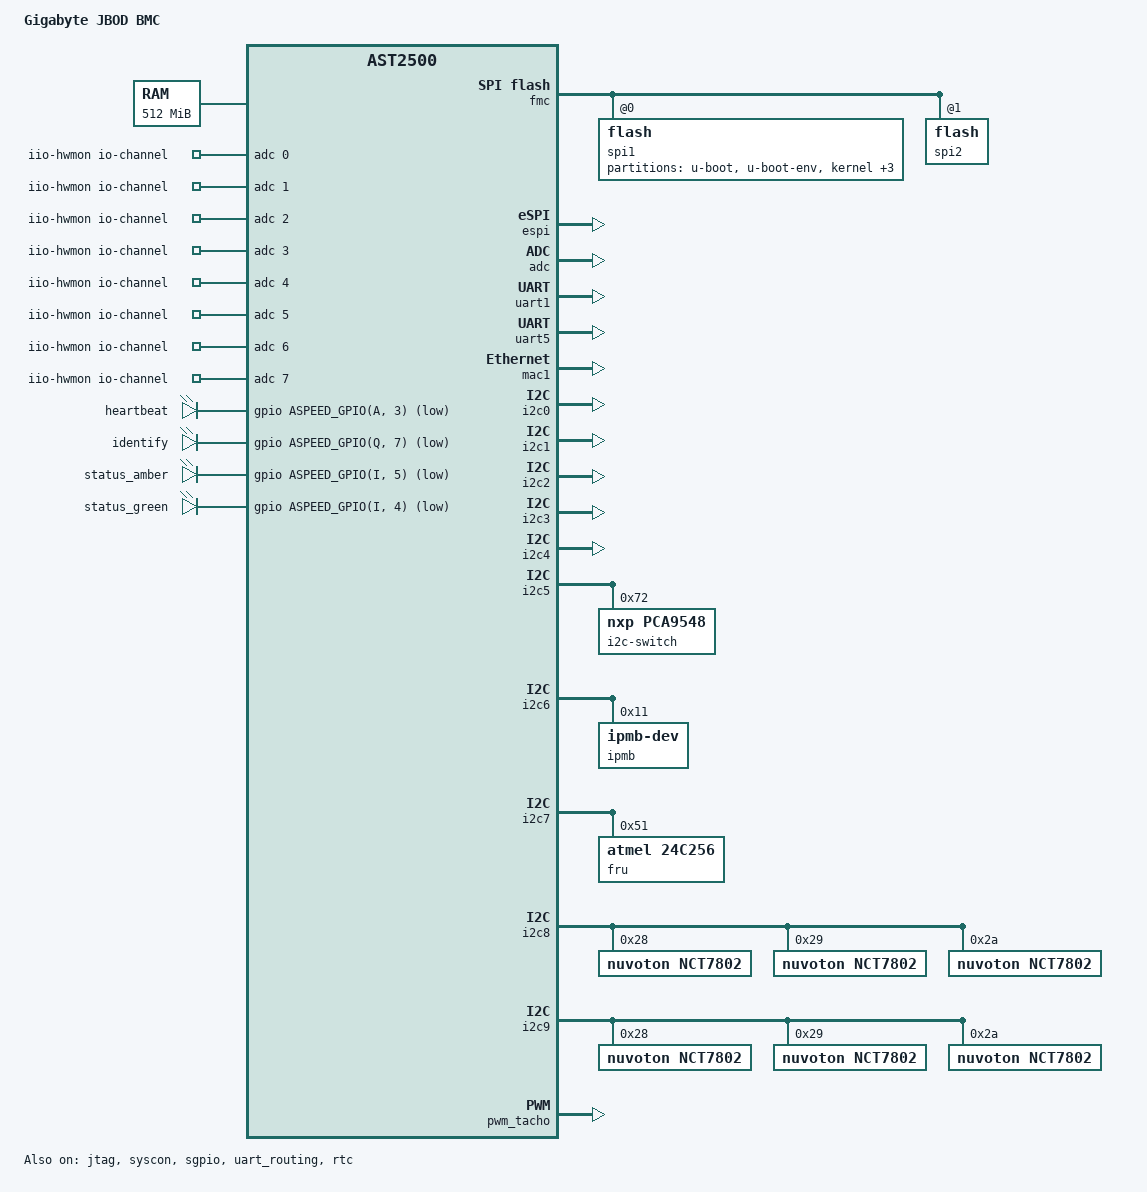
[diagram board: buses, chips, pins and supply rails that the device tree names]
/dts-v1/;

#include "aspeed-g5.dtsi"
#include <dt-bindings/gpio/aspeed-gpio.h>
#include <dt-bindings/i2c/i2c.h>

/ {
	model = "Gigabyte JBOD BMC";
	compatible = "none,jbod-bmc", "aspeed,ast2500";

	aliases {
		serial4 = &uart5;
		i2c14 = &pmbus_0;
		i2c15 = &pmbus_1;
		i2c16 = &pmbus_2;
		i2c17 = &pmbus_3;
	};

	chosen {
		stdout-path = &uart5;
		bootargs = "console=ttyS4,115200n8 root=/dev/ram rw earlyrintk";
	};

	memory@80000000 {
		reg = <0x80000000 0x20000000>;
	};

	reserved-memory {
		#address-cells = <1>;
		#size-cells = <1>;
		ranges;

		ramoops@9eff0000{
			compatible = "ramoops";
			reg = <0x9eff0000 0x10000>;
			record-size = <0x2000>;
			console-size = <0x2000>;
		};
	};

	iio-hwmon {
		   compatible = "iio-hwmon";
		   io-channels = <&adc 0>, <&adc 1>, <&adc 2>, <&adc 3>,
			   <&adc 4>, <&adc 5>, <&adc 6>, <&adc 7>,
			   <&adc 8>, <&adc 9>, <&adc 10>, <&adc 11>,
			   <&adc 12>, <&adc 13>, <&adc 14>, <&adc 15>;
	};

	leds {
		compatible = "gpio-leds";

		heartbeat {
			label = "heartbeat";
			gpios = <&gpio ASPEED_GPIO(A, 3) GPIO_ACTIVE_LOW>;
			linux,default-trigger = "timer";
			active-delay = <100>;
			inactive-delay = <100>;
		};

		identify {
			default-state = "on";
			gpios = <&gpio ASPEED_GPIO(Q, 7) GPIO_ACTIVE_LOW>;
		};

		status_amber {
			default-state = "off";
			gpios = <&gpio ASPEED_GPIO(I, 5) GPIO_ACTIVE_LOW>;
		};

		status_green {
			default-state = "keep";
			gpios = <&gpio ASPEED_GPIO(I, 4) GPIO_ACTIVE_LOW>;
		};
	};
};

&fmc {
	status = "okay";
	flash@0 {
		status = "okay";
		m25p,fast-read;
		label = "spi1";
		partitions {
			compatible = "fixed-partitions";
			#address-cells = <1>;
			#size-cells = <1>;

			u-boot@0 {
				reg = <0x0 0x60000>; // 384KB
				label = "u-boot";
			};

			u-boot-env@60000 {
				reg = <0x60000 0x20000>; // 128KB
				label = "u-boot-env";
			};

			kernel@80000 {
				reg = <0x80000 0x440000>; // 4352KB
				label = "kernel";
			};

			rofs@4c0000 {
				reg = <0x4c0000 0x2000000>; // 32MB
				label = "rofs";
			};

			rwfs@24c0000 {
				reg = <0x24c0000 0x1400000>; // 20MB
				label = "rwfs";
			};

			persistent@38C0000 {
				reg = <0x38C0000 0x640000>; // 6.4MB must end at 0x3f00000
				label = "persistent";
			};
		};
	};
	flash@1 {
		status = "okay";
		m25p,fast-read;
		label = "spi2";
	};
};

&espi {
	status = "okay";
};

&jtag {
	status = "okay";
};

&syscon {
	/* uart-clock-high-speed; */
	status = "okay";
};

&adc {
	status = "okay";
	pinctrl-names = "default";
	pinctrl-0 = <&pinctrl_adc0_default &pinctrl_adc1_default
	 &pinctrl_adc2_default &pinctrl_adc3_default &pinctrl_adc4_default
	 &pinctrl_adc5_default &pinctrl_adc6_default &pinctrl_adc7_default
	 &pinctrl_adc8_default &pinctrl_adc9_default &pinctrl_adc10_default
	 &pinctrl_adc11_default &pinctrl_adc12_default &pinctrl_adc13_default
	 &pinctrl_adc15_default>;
};

&gpio {
	status = "okay";
	/* Enable GPIOD0 and GPIOD2 pass-through by default */
	pinctrl-names = "pass-through";
	pinctrl-0 = <&pinctrl_gpid0_default
			&pinctrl_gpid2_default>;
	gpio-line-names =
	/*A0-A7*/	"A0", "A1", "A2", "A3", "A4", "A5", "A6", "A7",
	/*B0-B7*/	"P_12V_UP_FAULT_N", "P_12V_DOWN_FAULT_N", "B2", "B3", "B4", "B5", "B6", "BF_BMC_RST_BTN_N",
	/*C0-C7*/	"C0", "C1", "LED_BPB_UP", "LED_BPB_DOWN", "P_12V_PSON_L", "P_12V_BPB1_ON", "P_12V_BPB2_ON", "C7",
	/*D0-D7*/	"D0", "D1", "GLOBAL_FAIL_LED_BG1", "GLOBAL_FAIL_LED_BG2", "D4", "D5", "BMC_ID_BTN_N_BP1", "D7",
	/*E0-E7*/	"E0", "E1", "E2","E3","RST_BPB1_N","RST_BPB2_N","RST_BPB3_N","RST_BPB4_N",
	/*F0-F7*/	"F0", "F1", "F2", "F3", "F4", "F5", "F6", "F7",
	/*G0-G7*/	"G0", "G1", "G2", "G3", "G4", "G5", "G6", "FM_PS_PWROK",
	/*H0-H7*/	"PWR_BTN_N", "PGD_COM_DODE_U1", "PGD_COM_DODE_U2", "PGD_COM_DODE_D1", "PGD_COM_DODE_D2", "H5", "12V_UP_PG", "12V_DOWN_PG",
	/*I0-I7*/	"BMC_JTAG1_EN", "CMC_PCA9548_RST", "I2", "I3", "FP_LED_STATUS_GREEN_N", "FP_LED_STATUS_AMBER_N", "I6", "FM_IBMC_FLASH_WP_N",
	/*J0-J7*/	"J0", "J1", "J2", "J3", "J4", "J5", "J6", "J7",
	/*K0-K7*/	"K0", "K1", "K2", "K3", "K4", "K5", "K6", "K7",
	/*L0-L7*/	"L0", "L1", "L2", "L3", "L4", "L5", "L6", "L7",
	/*M0-M7*/	"VR_12V_UP_PG_ALT", "VR_12V_DOWNV_ALT", "M2", "M3", "M4", "M5", "M6", "M7",
	/*N0-N7*/	"N0", "N1", "N2", "N3", "N4", "N5", "N6", "N7",
	/*O0-O7*/	"O0", "O1", "O2", "O3", "O4", "O5", "O6", "O7",
	/*P0-P7*/	"P0", "P1", "P2", "P3", "P4", "P5", "P6", "P7",
	/*Q0-Q7*/	"Q0", "Q1", "Q2", "Q3", "Q4", "Q5", "Q6", "BMC_ID_LED_N_FP",
	/*R0-R7*/	"R0", "R1", "R2", "R3", "R4", "R5", "R6", "R7",
	/*S0-S7*/	"S0", "S1", "S2", "S3", "S4", "S5", "S6", "S7",
	/*T0-T7*/	"T0", "T1", "T2", "T3", "T4", "T5", "T6", "T7",
	/*U0-U7*/	"U0", "U1", "U2", "U3", "U4", "U5", "U6", "U7",
	/*V0-V7*/	"V0", "V1", "V2", "V3", "V4", "V5", "V6", "V7",
	/*W0-W7*/	"W0", "W1", "W2", "W3", "W4", "W5", "W6", "W7",
	/*X0-X7*/	"X0", "X1", "X2", "X3", "X4", "X5", "X6", "X7",
	/*Y0-Y7*/	"Y0", "Y1", "Y2", "Y3", "Y4", "Y5", "Y6", "Y7",
	/*Z0-Z7*/	"Z0", "Z1", "Z2", "Z3", "Z4", "Z5", "Z6", "Z7",
	/*AA0-AA7*/	"AA0", "AA1", "AA2", "AA3", "AA4", "AA5", "AA6", "AA7",
	/*AB0-AB7*/	"AB0", "AB1", "AB2", "AB3", "AB4", "AB5", "AB6", "AB7",
	/*AC0-AC7*/	"AC0", "AC1", "AC2", "AC3", "AC4", "AC5", "AC6", "AC7";
};
&sgpio {
	status = "okay";
	ngpios = <80>;

	/* https://github.com/torvalds/linux/commit/ac67b07e268d46eba675a60c37051bb3e59fd201#diff-fd5dd6aa1b0191537084c0f9adbcc357f960884db2677cf4ee727a54dc8d4893 */
	/* This change expands the maximum number of GPIOs to 160; the lower half
	* of this range are the input-only GPIOs, the upper half are the outputs.
	*/
	gpio-line-names =
	/* SGPIO input lines */
	/*IA0-IA7*/ "IA0","IA1","IA2","IA3","IA4","IA5","IA6","IA7",
	/*IB0-IB7*/ "IB0","IB1","IB2","IB3","IB4","IB5","IB6","IB7",
	/*IC0-IC7*/ "IC0","IC1","IC2","IC3","IC4","IC5","IC6","IC7",
	/*ID0-ID7*/ "ID0","ID1","ID2","ID3","ID4","ID5","ID6","ID7",
	/*IE0-IE7*/ "IE0","IE1","IE2","IE3","IE4","IE5","IE6","IE7",
	/*IF0-IF7*/ "IF0","IF1","IF2","IF3","IF4","IF5","IF6","IF7",
	/*IG0-IG7*/ "IG0","IG1","IG2","IG3","IG4","IG5","IG6","IG7",
	/*IH0-IH7*/ "IH0","IH1","IH2","IH3","IH4","IH5","IH6","IH7",
	/*II0-II7*/ "II0","II1","II2","II3","II4","II5","II6","II7",
	/*IJ0-IJ7*/ "IJ0","IJ1","IJ2","SGPMI","IJ4","IJ5","IJ6","IJ7",

	/* SGPIO output lines */
	/*OA0-OA7*/ "OA0","OA1","OA2","OA3","OA4","OA5","OA6","OA7",
	/*OB0-OB7*/ "OB0","OB1","OB2","OB3","OB4","OB5","OB6","OB7",
	/*OC0-OC7*/ "OC0","OC1","OC2","OC3","OC4","OC5","OC6","OC7",
	/*OD0-OD7*/ "OD0","OD1","OD2","OD3","OD4","OD5","OD6","OD7",
	/*OE0-OE7*/ "OE0","OE1","OE2","OE3","OE4","OE5","OE6","OE7",
	/*OF0-OF7*/ "OF0","OF1","OF2","OF3","OF4","OF5","OF6","OF7",
	/*OG0-OG7*/ "OG0","OG1","OG2","OG3","OG4","OG5","OG6","OG7",
	/*OH0-OH7*/ "OH0","OH1","OH2","OH3","OH4","OH5","OH6","OH7",
	/*OI0-OI7*/ "OI0","OI1","OI2","OI3","OI4","OI5","OI6","OI7",
	/*OJ0-OJ7*/ "SGPMCK","SGPMLD","SGPMO","OJ3","OJ4","OJ5","OJ6","OJ7";
};

/* This is UART to rear COM (VGACOM_1) */
&uart1 {
	status = "okay";
	pinctrl-names = "default";
	pinctrl-0 = <&pinctrl_txd1_default &pinctrl_rxd1_default>;
};

/* This is console UART */
&uart5 {
	status = "okay";
	pinctrl-names = "default";
	pinctrl-0 = <>;
};

&uart_routing {
	status = "okay";
};

&mac0 {
	status = "disabled";
};

&mac1 {
	status = "okay";

	pinctrl-names = "default";
	pinctrl-0 = <&pinctrl_rgmii2_default &pinctrl_mdio2_default>;
};

&i2c0 {
	bus-frequency = <100000>;
	general-call;
	aspeed,dma-buf-size = <4095>;
	aspeed,hw-timeout-ms = <300>;
	status = "okay";
};

&i2c1 {
	bus-frequency = <100000>;
	aspeed,dma-buf-size = <4095>;
	aspeed,hw-timeout-ms = <300>;
	status = "okay";
};

&i2c2 {
	bus-frequency = <100000>;
	aspeed,dma-buf-size = <4095>;
	aspeed,hw-timeout-ms = <300>;
	status = "okay";
};

&i2c3 {
	bus-frequency = <100000>;
	aspeed,dma-buf-size = <4095>;
	aspeed,hw-timeout-ms = <300>;
	status = "okay";
};

&i2c4 {
	bus-frequency = <100000>;
	aspeed,dma-buf-size = <4095>;
	aspeed,hw-timeout-ms = <300>;
	status = "okay";
};

&i2c5 {
	bus-frequency = <100000>;
	aspeed,dma-buf-size = <4095>;
	aspeed,hw-timeout-ms = <300>;
	status = "okay";
	i2c-switch@72 {
		compatible = "nxp,pca9548";
		#address-cells = <1>;
		#size-cells = <0>;
		reg = <0x72>;
		i2c-mux-idle-disconnect;
		pmbus_0: i2c@0 {
			#address-cells = <1>;
			#size-cells = <0>;
			reg = <0>;
		};
		pmbus_1: i2c@1 {
			#address-cells = <1>;
			#size-cells = <0>;
			reg = <1>;
		};
		pmbus_2: i2c@2 {
			#address-cells = <1>;
			#size-cells = <0>;
			reg = <2>;
		};
		pmbus_3: i2c@3 {
			#address-cells = <1>;
			#size-cells = <0>;
			reg = <3>;
		};
	};
};

&i2c6 {
	bus-frequency = <100000>;
	aspeed,dma-buf-size = <4095>;
	aspeed,hw-timeout-ms = <300>;
	status = "okay";

	ipmb@11 {
		compatible = "ipmb-dev";
		reg = <0x11>;
		i2c-protocol;
	};
};

&i2c7 {
	bus-frequency = <100000>;
	aspeed,dma-buf-size = <4095>;
	aspeed,hw-timeout-ms = <300>;
	status = "okay";

	fru@0x51 {
		compatible = "atmel,24c256";
		reg = <0x51>;
	};
};

&i2c8 {
	bus-frequency = <100000>;
	aspeed,dma-buf-size = <4095>;
	aspeed,hw-timeout-ms = <300>;
	status = "okay";
	nct7802@28 {
		compatible = "nuvoton,nct7802";
		reg = <0x28>;
		#address-cells = <1>;
		#size-cells = <0>;
		channel@1 {
			reg = <1>;
			sensor-type = "temperature";
			temperature-mode = "thermistor";
		};
		channel@2 {
			reg = <2>;
			sensor-type = "temperature";
			temperature-mode = "thermistor";
		};
	};
	nct7802@29 {
		compatible = "nuvoton,nct7802";
		reg = <0x29>;
		#address-cells = <1>;
		#size-cells = <0>;
		channel@1 {
			reg = <1>;
			sensor-type = "temperature";
			temperature-mode = "thermistor";
		};
		channel@2 {
			reg = <2>;
			sensor-type = "temperature";
			temperature-mode = "thermistor";
		};
	};
	nct7802@2a {
		compatible = "nuvoton,nct7802";
		reg = <0x2a>;
		#address-cells = <1>;
		#size-cells = <0>;
		channel@1 {
			reg = <1>;
			sensor-type = "temperature";
			temperature-mode = "thermistor";
		};
		channel@2 {
			reg = <2>;
			sensor-type = "temperature";
			temperature-mode = "thermistor";
		};
	};
};

&i2c9 {
	bus-frequency = <100000>;
	aspeed,dma-buf-size = <4095>;
	aspeed,hw-timeout-ms = <300>;
	status = "okay";
	nct7802@28 {
		compatible = "nuvoton,nct7802";
		reg = <0x28>;
		#address-cells = <1>;
		#size-cells = <0>;
		channel@1 {
			reg = <1>;
			sensor-type = "temperature";
			temperature-mode = "thermistor";
		};
		channel@2 {
			reg = <2>;
			sensor-type = "temperature";
			temperature-mode = "thermistor";
		};
	};
	nct7802@29 {
		compatible = "nuvoton,nct7802";
		reg = <0x29>;
		#address-cells = <1>;
		#size-cells = <0>;
		channel@1 {
			reg = <1>;
			sensor-type = "temperature";
			temperature-mode = "thermistor";
		};
		channel@2 {
			reg = <2>;
			sensor-type = "temperature";
			temperature-mode = "thermistor";
		};
	};
	nct7802@2a {
		compatible = "nuvoton,nct7802";
		reg = <0x2a>;
		#address-cells = <1>;
		#size-cells = <0>;
		channel@1 {
			reg = <1>;
			sensor-type = "temperature";
			temperature-mode = "thermistor";
		};
		channel@2 {
			reg = <2>;
			sensor-type = "temperature";
			temperature-mode = "thermistor";
		};
	};
};

&pwm_tacho {
	status = "okay";
	pinctrl-names = "default";
	pinctrl-0 = <&pinctrl_pwm0_default &pinctrl_pwm1_default
				 &pinctrl_pwm2_default &pinctrl_pwm3_default>;

	fan@0 {
		reg = <0x00>;
		aspeed,fan-tach-ch = /bits/ 8 <0x00>;
	};
	fan@1 {
		reg = <0x01>;
		aspeed,fan-tach-ch = /bits/ 8 <0x01>;
	};
	fan@2 {
		reg = <0x02>;
		aspeed,fan-tach-ch = /bits/ 8 <0x02>;
	};
	fan@3 {
		reg = <0x03>;
		aspeed,fan-tach-ch = /bits/ 8 <0x03>;
	};

};

&rtc {
	status = "okay";
};
